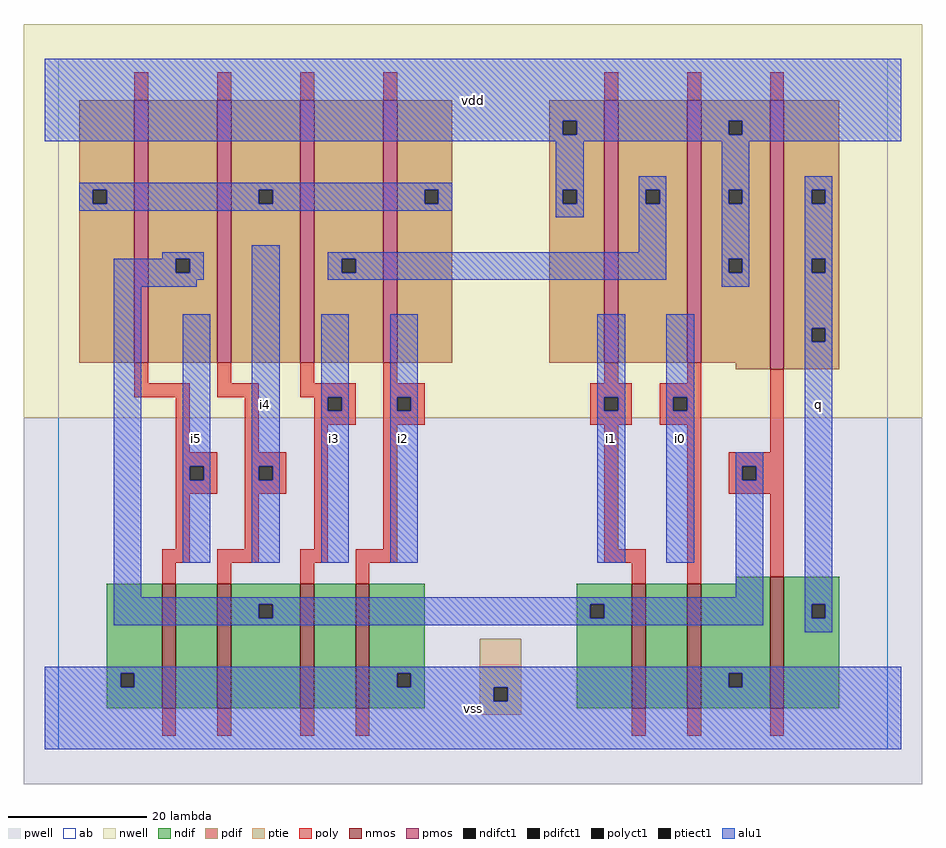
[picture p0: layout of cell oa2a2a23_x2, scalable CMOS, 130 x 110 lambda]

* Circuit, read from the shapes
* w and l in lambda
.subckt oa2a2a23_x2 i0 i1 i2 i3 i4 i5 q vdd vss
M1 n1 i5 vss vss nfet w=18 l=2
M2 n2 i4 n1 vss nfet w=18 l=2
M3 n3 i3 n2 vss nfet w=18 l=2
M4 vss i2 n3 vss nfet w=18 l=2
M5 n4 i1 n2 vss nfet w=18 l=2
M6 vss i0 n4 vss nfet w=18 l=2
M7 q n2 vss vss nfet w=19 l=2
M8 n2 i5 n5 n6 pfet w=38 l=2
M9 n5 i4 n2 n6 pfet w=38 l=2
M10 n7 i3 n5 n6 pfet w=38 l=2
M11 n5 i2 n7 n6 pfet w=38 l=2
M12 n7 i1 vdd n6 pfet w=38 l=2
M13 vdd i0 n7 n6 pfet w=38 l=2
M14 q n2 vdd n6 pfet w=39 l=2
.ends

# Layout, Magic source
magic
tech scmos
<< ab >>
rect 0 0 120 100
<< nwell >>
rect -5 48 125 105
<< pwell >>
rect -5 -5 125 48
<< poly >>
rect 11 94 13 98
rect 23 94 25 98
rect 35 94 37 98
rect 47 94 49 98
rect 79 94 81 98
rect 91 94 93 98
rect 103 94 105 98
rect 11 53 13 56
rect 23 53 25 56
rect 35 53 37 56
rect 47 53 49 56
rect 79 53 81 56
rect 91 53 93 56
rect 11 51 19 53
rect 23 51 29 53
rect 35 51 43 53
rect 17 43 19 51
rect 27 43 29 51
rect 37 49 39 51
rect 41 49 43 51
rect 37 47 43 49
rect 47 51 53 53
rect 47 49 49 51
rect 51 49 53 51
rect 47 47 53 49
rect 77 51 83 53
rect 77 49 79 51
rect 81 49 83 51
rect 77 47 83 49
rect 87 51 93 53
rect 87 49 89 51
rect 91 49 93 51
rect 87 47 93 49
rect 17 41 23 43
rect 17 39 19 41
rect 21 39 23 41
rect 17 37 23 39
rect 27 41 33 43
rect 27 39 29 41
rect 31 39 33 41
rect 27 37 33 39
rect 17 29 19 37
rect 27 29 29 37
rect 37 29 39 47
rect 47 29 49 47
rect 15 27 19 29
rect 23 27 29 29
rect 35 27 39 29
rect 43 27 49 29
rect 79 29 81 47
rect 79 27 85 29
rect 15 24 17 27
rect 23 24 25 27
rect 35 24 37 27
rect 43 24 45 27
rect 83 24 85 27
rect 91 24 93 47
rect 103 43 105 55
rect 97 41 105 43
rect 97 39 99 41
rect 101 39 105 41
rect 97 37 105 39
rect 103 25 105 37
rect 15 2 17 6
rect 23 2 25 6
rect 35 2 37 6
rect 43 2 45 6
rect 83 2 85 6
rect 91 2 93 6
rect 103 2 105 6
<< ndif >>
rect 98 24 103 25
rect 7 11 15 24
rect 7 9 9 11
rect 11 9 15 11
rect 7 6 15 9
rect 17 6 23 24
rect 25 21 35 24
rect 25 19 29 21
rect 31 19 35 21
rect 25 6 35 19
rect 37 6 43 24
rect 45 11 53 24
rect 75 21 83 24
rect 75 19 77 21
rect 79 19 83 21
rect 45 9 49 11
rect 51 9 53 11
rect 45 6 53 9
rect 75 6 83 19
rect 85 6 91 24
rect 93 11 103 24
rect 93 9 97 11
rect 99 9 103 11
rect 93 6 103 9
rect 105 21 113 25
rect 105 19 109 21
rect 111 19 113 21
rect 105 6 113 19
<< pdif >>
rect 3 81 11 94
rect 3 79 5 81
rect 7 79 11 81
rect 3 56 11 79
rect 13 71 23 94
rect 13 69 17 71
rect 19 69 23 71
rect 13 56 23 69
rect 25 81 35 94
rect 25 79 29 81
rect 31 79 35 81
rect 25 56 35 79
rect 37 71 47 94
rect 37 69 41 71
rect 43 69 47 71
rect 37 56 47 69
rect 49 81 57 94
rect 49 79 53 81
rect 55 79 57 81
rect 49 56 57 79
rect 71 91 79 94
rect 71 89 73 91
rect 75 89 79 91
rect 71 81 79 89
rect 71 79 73 81
rect 75 79 79 81
rect 71 56 79 79
rect 81 81 91 94
rect 81 79 85 81
rect 87 79 91 81
rect 81 56 91 79
rect 93 91 103 94
rect 93 89 97 91
rect 99 89 103 91
rect 93 81 103 89
rect 93 79 97 81
rect 99 79 103 81
rect 93 71 103 79
rect 93 69 97 71
rect 99 69 103 71
rect 93 56 103 69
rect 98 55 103 56
rect 105 81 113 94
rect 105 79 109 81
rect 111 79 113 81
rect 105 71 113 79
rect 105 69 109 71
rect 111 69 113 71
rect 105 61 113 69
rect 105 59 109 61
rect 111 59 113 61
rect 105 55 113 59
<< alu1 >>
rect -2 91 122 100
rect -2 89 73 91
rect 75 89 97 91
rect 99 89 122 91
rect -2 88 122 89
rect 3 81 57 82
rect 3 79 5 81
rect 7 79 29 81
rect 31 79 53 81
rect 55 79 57 81
rect 3 78 57 79
rect 72 81 76 88
rect 72 79 73 81
rect 75 79 76 81
rect 72 77 76 79
rect 84 81 88 83
rect 84 79 85 81
rect 87 79 88 81
rect 15 71 21 72
rect 8 69 17 71
rect 19 69 21 71
rect 8 68 21 69
rect 8 67 20 68
rect 8 22 12 67
rect 18 41 22 63
rect 18 39 19 41
rect 21 39 22 41
rect 18 27 22 39
rect 28 41 32 73
rect 84 72 88 79
rect 39 71 88 72
rect 39 69 41 71
rect 43 69 88 71
rect 39 68 88 69
rect 96 81 100 88
rect 96 79 97 81
rect 99 79 100 81
rect 96 71 100 79
rect 96 69 97 71
rect 99 69 100 71
rect 96 67 100 69
rect 108 81 112 83
rect 108 79 109 81
rect 111 79 112 81
rect 108 71 112 79
rect 108 69 109 71
rect 111 69 112 71
rect 28 39 29 41
rect 31 39 32 41
rect 28 27 32 39
rect 38 51 42 63
rect 38 49 39 51
rect 41 49 42 51
rect 38 27 42 49
rect 48 51 52 63
rect 48 49 49 51
rect 51 49 52 51
rect 48 27 52 49
rect 78 51 82 63
rect 78 49 79 51
rect 81 49 82 51
rect 78 27 82 49
rect 88 51 92 63
rect 88 49 89 51
rect 91 49 92 51
rect 88 27 92 49
rect 108 61 112 69
rect 108 59 109 61
rect 111 59 112 61
rect 98 41 102 43
rect 98 39 99 41
rect 101 39 102 41
rect 98 22 102 39
rect 8 21 102 22
rect 8 19 29 21
rect 31 19 77 21
rect 79 19 102 21
rect 8 18 102 19
rect 108 21 112 59
rect 108 19 109 21
rect 111 19 112 21
rect 108 17 112 19
rect -2 11 122 12
rect -2 9 9 11
rect 11 9 49 11
rect 51 9 97 11
rect 99 9 122 11
rect -2 7 63 9
rect 65 7 122 9
rect -2 0 122 7
<< ptie >>
rect 61 9 67 16
rect 61 7 63 9
rect 65 7 67 9
rect 61 5 67 7
<< nmos >>
rect 15 6 17 24
rect 23 6 25 24
rect 35 6 37 24
rect 43 6 45 24
rect 83 6 85 24
rect 91 6 93 24
rect 103 6 105 25
<< pmos >>
rect 11 56 13 94
rect 23 56 25 94
rect 35 56 37 94
rect 47 56 49 94
rect 79 56 81 94
rect 91 56 93 94
rect 103 55 105 94
<< polyct1 >>
rect 39 49 41 51
rect 49 49 51 51
rect 79 49 81 51
rect 89 49 91 51
rect 19 39 21 41
rect 29 39 31 41
rect 99 39 101 41
<< ndifct1 >>
rect 9 9 11 11
rect 29 19 31 21
rect 77 19 79 21
rect 49 9 51 11
rect 97 9 99 11
rect 109 19 111 21
<< ptiect1 >>
rect 63 7 65 9
<< pdifct1 >>
rect 5 79 7 81
rect 17 69 19 71
rect 29 79 31 81
rect 41 69 43 71
rect 53 79 55 81
rect 73 89 75 91
rect 73 79 75 81
rect 85 79 87 81
rect 97 89 99 91
rect 97 79 99 81
rect 97 69 99 71
rect 109 79 111 81
rect 109 69 111 71
rect 109 59 111 61
<< labels >>
rlabel alu1 20 45 20 45 6 i5
rlabel alu1 50 45 50 45 6 i2
rlabel alu1 40 45 40 45 6 i3
rlabel alu1 30 50 30 50 6 i4
rlabel alu1 60 6 60 6 6 vss
rlabel alu1 80 45 80 45 6 i1
rlabel alu1 60 94 60 94 6 vdd
rlabel alu1 90 45 90 45 6 i0
rlabel alu1 110 50 110 50 6 q
<< end >>
